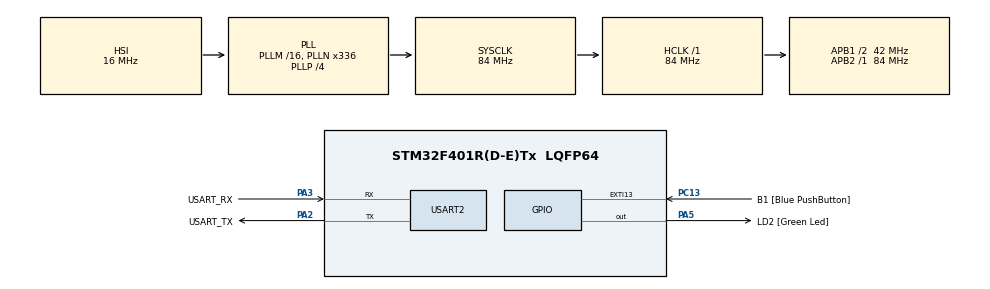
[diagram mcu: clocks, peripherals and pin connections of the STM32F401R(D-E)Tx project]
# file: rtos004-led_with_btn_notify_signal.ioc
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FREERTOS.Tasks01=buttonTask,0,128,startButtonTask,Default,NULL,Dynamic,NULL,NULL;ledTask,0,128,startLedTask,Default,NULL,Dynamic,NULL,NULL
Mcu.Family=STM32F4
Mcu.Name=STM32F401R(D-E)Tx
Mcu.Package=LQFP64
NVIC.PriorityGroup=NVIC_PRIORITYGROUP_4
NVIC.TIM1_UP_TIM10_IRQn=true\:0\:0\:false\:false\:true\:false\:false\:true
NVIC.TimeBase=TIM1_UP_TIM10_IRQn
NVIC.TimeBaseIP=TIM1
PA13.GPIO_Label=TMS
PA13.Mode=Serial_Wire
PA13.Signal=SYS_JTMS-SWDIO
PA14.GPIO_Label=TCK
PA14.Mode=Serial_Wire
PA14.Signal=SYS_JTCK-SWCLK
PA2.GPIO_Label=USART_TX
PA2.GPIO_Mode=GPIO_MODE_AF_PP
PA2.GPIO_PuPd=GPIO_NOPULL
PA2.GPIO_Speed=GPIO_SPEED_FREQ_LOW
PA2.Mode=Asynchronous
PA2.Signal=USART2_TX
PA3.GPIO_Label=USART_RX
PA3.GPIO_Mode=GPIO_MODE_AF_PP
PA3.GPIO_PuPd=GPIO_NOPULL
PA3.GPIO_Speed=GPIO_SPEED_FREQ_LOW
PA3.Mode=Asynchronous
PA3.Signal=USART2_RX
PA5.GPIO_Label=LD2 [Green Led]
PA5.GPIO_Mode=GPIO_MODE_OUTPUT_PP
PA5.GPIO_PuPd=GPIO_NOPULL
PA5.GPIO_Speed=GPIO_SPEED_FREQ_LOW
PA5.Signal=GPIO_Output
PB3.GPIO_Label=SWO
PB3.Signal=SYS_JTDO-SWO
PC13-ANTI_TAMP.GPIO_Label=B1 [Blue PushButton]
PC13-ANTI_TAMP.GPIO_ModeDefaultEXTI=GPIO_MODE_IT_FALLING
PC13-ANTI_TAMP.GPIO_PuPd=GPIO_NOPULL
PC13-ANTI_TAMP.Signal=GPXTI13
PC14-OSC32_IN.Signal=RCC_OSC32_IN
PC15-OSC32_OUT.Signal=RCC_OSC32_OUT
PH0\ -\ OSC_IN.Mode=HSE-External-Clock-Source
PH0\ -\ OSC_IN.Signal=RCC_OSC_IN
PH1\ -\ OSC_OUT.Mode=HSE-External-Clock-Source
PH1\ -\ OSC_OUT.Signal=RCC_OSC_OUT
ProjectManager.HeapSize=0x200
ProjectManager.StackSize=0x400
ProjectManager.TargetToolchain=STM32CubeIDE
RCC.AHBFreq_Value=84000000
RCC.APB1CLKDivider=RCC_HCLK_DIV2
RCC.APB1Freq_Value=42000000
RCC.APB1TimFreq_Value=84000000
RCC.APB2Freq_Value=84000000
RCC.APB2TimFreq_Value=84000000
RCC.CortexFreq_Value=84000000
RCC.HCLKFreq_Value=84000000
RCC.HSE_VALUE=8000000
RCC.HSI_VALUE=16000000
RCC.LSE_VALUE=32768
RCC.PLLN=336
RCC.PLLP=RCC_PLLP_DIV4
RCC.PLLQ=7
RCC.SYSCLKFreq_VALUE=84000000
RCC.SYSCLKSource=RCC_SYSCLKSOURCE_PLLCLK
RCC.VCOOutputFreq_Value=336000000
USART2.VirtualMode=VM_ASYNC
VP_FREERTOS_VS_CMSIS_V1.Mode=CMSIS_V1
VP_SYS_VS_tim1.Mode=TIM1
board=NUCLEO-F401RE

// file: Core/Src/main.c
/* USER CODE BEGIN Header */
/**
 ******************************************************************************
 * @file           : main.c
 * @brief          : Main program body
 ******************************************************************************
 * @attention
 *
 * <h2><center>&copy; Copyright (c) 2020 STMicroelectronics.
 * All rights reserved.</center></h2>
 *
 * This software component is licensed by ST under BSD 3-Clause license,
 * the "License"; You may not use this file except in compliance with the
 * License. You may obtain a copy of the License at:
 *                        opensource.org/licenses/BSD-3-Clause
 *
 ******************************************************************************
 */
/* USER CODE END Header */

#include "main.h"
#include "cmsis_os.h"

/* USER CODE BEGIN Includes */
#include <string.h>
#include <stdio.h>
/* USER CODE END Includes */

UART_HandleTypeDef huart2;

osThreadId buttonTaskHandle;
osThreadId ledTaskHandle;

void SystemClock_Config(void);
static void MX_GPIO_Init(void);
static void MX_USART2_UART_Init(void);
void startButtonTask(void const * argument);
void startLedTask(void const * argument);

int main(void)
{

  /* MCU Configuration--------------------------------------------------------*/

  /* Reset of all peripherals, Initializes the Flash interface and the Systick. */
  HAL_Init();

  /* Configure the system clock */
  SystemClock_Config();

  /* Initialize all configured peripherals */
  MX_GPIO_Init();
  MX_USART2_UART_Init();

  /* Create the thread(s) */
  /* definition and creation of buttonTask */
  osThreadDef(buttonTask, startButtonTask, osPriorityNormal, 0, 128);
  buttonTaskHandle = osThreadCreate(osThread(buttonTask), NULL);

  /* definition and creation of ledTask */
  osThreadDef(ledTask, startLedTask, osPriorityNormal, 0, 128);
  ledTaskHandle = osThreadCreate(osThread(ledTask), NULL);

  /* Start scheduler */
  osKernelStart();

  /* We should never get here as control is now taken by the scheduler */

  /* Infinite loop */
	while (1) {

	}
}

void SystemClock_Config(void)
{
  RCC_OscInitTypeDef RCC_OscInitStruct = {0};
  RCC_ClkInitTypeDef RCC_ClkInitStruct = {0};

  /** Configure the main internal regulator output voltage
  */
  __HAL_RCC_PWR_CLK_ENABLE();
  __HAL_PWR_VOLTAGESCALING_CONFIG(PWR_REGULATOR_VOLTAGE_SCALE2);
  /** Initializes the CPU, AHB and APB busses clocks
  */
  RCC_OscInitStruct.OscillatorType = RCC_OSCILLATORTYPE_HSI;
  RCC_OscInitStruct.HSIState = RCC_HSI_ON;
  RCC_OscInitStruct.HSICalibrationValue = RCC_HSICALIBRATION_DEFAULT;
  RCC_OscInitStruct.PLL.PLLState = RCC_PLL_ON;
  RCC_OscInitStruct.PLL.PLLSource = RCC_PLLSOURCE_HSI;
  RCC_OscInitStruct.PLL.PLLM = 16;
  RCC_OscInitStruct.PLL.PLLN = 336;
  RCC_OscInitStruct.PLL.PLLP = RCC_PLLP_DIV4;
  RCC_OscInitStruct.PLL.PLLQ = 7;
  if (HAL_RCC_OscConfig(&RCC_OscInitStruct) != HAL_OK)
  {
    Error_Handler();
  }
  /** Initializes the CPU, AHB and APB busses clocks
  */
  RCC_ClkInitStruct.ClockType = RCC_CLOCKTYPE_HCLK|RCC_CLOCKTYPE_SYSCLK
                              |RCC_CLOCKTYPE_PCLK1|RCC_CLOCKTYPE_PCLK2;
  RCC_ClkInitStruct.SYSCLKSource = RCC_SYSCLKSOURCE_PLLCLK;
  RCC_ClkInitStruct.AHBCLKDivider = RCC_SYSCLK_DIV1;
  RCC_ClkInitStruct.APB1CLKDivider = RCC_HCLK_DIV2;
  RCC_ClkInitStruct.APB2CLKDivider = RCC_HCLK_DIV1;

  if (HAL_RCC_ClockConfig(&RCC_ClkInitStruct, FLASH_LATENCY_2) != HAL_OK)
  {
    Error_Handler();
  }
}

static void MX_USART2_UART_Init(void)
{

  huart2.Instance = USART2;
  huart2.Init.BaudRate = 115200;
  huart2.Init.WordLength = UART_WORDLENGTH_8B;
  huart2.Init.StopBits = UART_STOPBITS_1;
  huart2.Init.Parity = UART_PARITY_NONE;
  huart2.Init.Mode = UART_MODE_TX_RX;
  huart2.Init.HwFlowCtl = UART_HWCONTROL_NONE;
  huart2.Init.OverSampling = UART_OVERSAMPLING_16;
  if (HAL_UART_Init(&huart2) != HAL_OK)
  {
    Error_Handler();
  }

}

static void MX_GPIO_Init(void)
{
  GPIO_InitTypeDef GPIO_InitStruct = {0};

  /* GPIO Ports Clock Enable */
  __HAL_RCC_GPIOC_CLK_ENABLE();
  __HAL_RCC_GPIOH_CLK_ENABLE();
  __HAL_RCC_GPIOA_CLK_ENABLE();
  __HAL_RCC_GPIOB_CLK_ENABLE();

  /*Configure GPIO pin Output Level */
  HAL_GPIO_WritePin(LD2_GPIO_Port, LD2_Pin, GPIO_PIN_RESET);

  /*Configure GPIO pin : B1_Pin */
  GPIO_InitStruct.Pin = B1_Pin;
  GPIO_InitStruct.Mode = GPIO_MODE_IT_FALLING;
  GPIO_InitStruct.Pull = GPIO_NOPULL;
  HAL_GPIO_Init(B1_GPIO_Port, &GPIO_InitStruct);

  /*Configure GPIO pin : LD2_Pin */
  GPIO_InitStruct.Pin = LD2_Pin;
  GPIO_InitStruct.Mode = GPIO_MODE_OUTPUT_PP;
  GPIO_InitStruct.Pull = GPIO_NOPULL;
  GPIO_InitStruct.Speed = GPIO_SPEED_FREQ_LOW;
  HAL_GPIO_Init(LD2_GPIO_Port, &GPIO_InitStruct);

}

void startButtonTask(void const * argument)
{
  /* USER CODE BEGIN 5 */
	/* Infinite loop */
	for (;;) {
		/*if (!HAL_GPIO_ReadPin(B1_GPIO_Port, B1_Pin)) {
			// Notificação recebida, então alterna o led
			osDelay(100); // Debouncer
			xTaskNotify(ledTaskHandle, 0, eIncrement);
		}*/

		if (!HAL_GPIO_ReadPin(B1_GPIO_Port, B1_Pin)) {
			// Notificação recebida, então alterna o led
			osDelay(100); // Debouncer
			osSignalSet(ledTaskHandle, 0x0001);
		}
		//osDelay(1);
	}
  /* USER CODE END 5 */
}

void startLedTask(void const * argument)
{
  /* USER CODE BEGIN startLedTask */
	/* Infinite loop */
	uint32_t contador_notificacoes = 0;
	char msg[32] = {0};
	osEvent evt;

	for (;;) {
		/*if (xTaskNotifyWait(0, 0, &contador_notificacoes, portMAX_DELAY)) {
			// Notificação recebida, então alterna o led
			HAL_GPIO_TogglePin(LD2_GPIO_Port, LD2_Pin);

			memset(&msg, 0, sizeof(msg));
			sprintf(msg, "Notification %ld\n", contador_notificacoes);
			HAL_UART_Transmit(&huart2, (uint8_t*)msg, strlen(msg), HAL_MAX_DELAY);
		}*/
		evt = osSignalWait(0x0001, osWaitForever);
		if (evt.status == osEventSignal) {
					// Notificação recebida, então alterna o led
					HAL_GPIO_TogglePin(LD2_GPIO_Port, LD2_Pin);
					contador_notificacoes++;
					memset(&msg, 0, sizeof(msg));
					sprintf(msg, "Notification %ld\n", contador_notificacoes);
					HAL_UART_Transmit(&huart2, (uint8_t*)msg, strlen(msg), HAL_MAX_DELAY);
		}
		//osDelay(1);
	}
  /* USER CODE END startLedTask */
}

void HAL_TIM_PeriodElapsedCallback(TIM_HandleTypeDef *htim)
{
  if (htim->Instance == TIM1) {
    HAL_IncTick();
  }
}

void Error_Handler(void)
{
}

/************************ (C) COPYRIGHT STMicroelectronics *****END OF FILE****/
